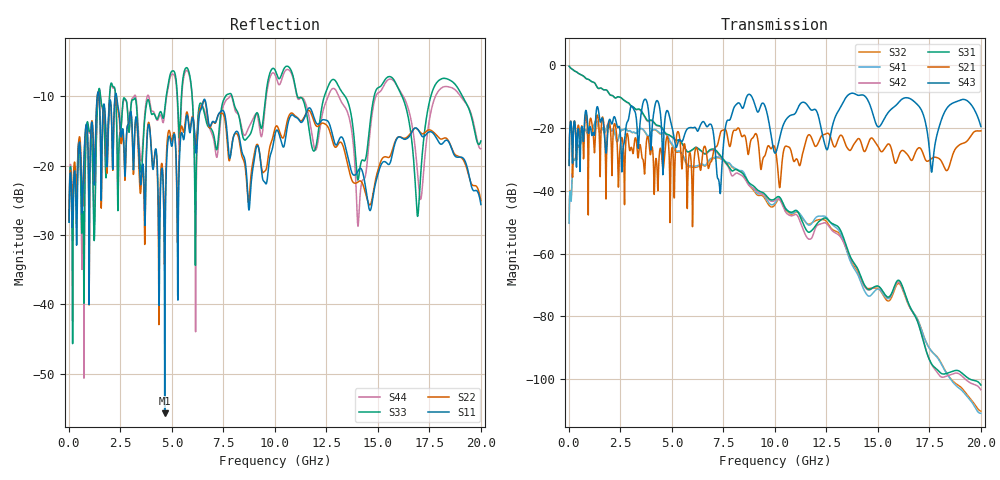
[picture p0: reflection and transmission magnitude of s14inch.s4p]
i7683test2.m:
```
%% test amiinit_1207a using i7683 AMI model

bit_rate = 8e9;         %bits-per-second
bit_time = 1/bit_rate;   % second
samples_per_bit = 32;  
sampling_rate = bit_rate * samples_per_bit; 
sample_step = bit_time / samples_per_bit;
seqlength = 200000;   % length of random sequence bits


%% setup IBIS AMI model path and filename
modelpath = 'C:\Users\younger\Documents\MATLAB\_develop\_chasim\Qlogic_Cetus_wrk';

tx_amifilename = 'g28_10g_tx.ami';
rx_amifilename = 'g28_10g_rx.ami';
tx_dllfilename = 'G28_10G_Tx.dll';
rx_dllfilename = 'G28_10G_Rx.dll';
tx_amifile = fullfile(modelpath, tx_amifilename);
rx_amifile = fullfile(modelpath, rx_amifilename);
tx_dllfile = fullfile(modelpath, tx_dllfilename);
rx_dllfile = fullfile(modelpath, rx_dllfilename);

addpath(modelpath)

%% get channel impulse response 
addpath('C:\Users\younger\Documents\MATLAB\_develop\_chasim\impulse_response_oct2012');
addpath('C:\Users\younger\Documents\MATLAB\_develop\_chasim\SYZ_conversions');
s4ppath = 'C:\Users\younger\Documents\MATLAB\_develop\_chasim\Qlogic_Cetus_wrk';
s4pname = 's14inch.s4p';
s4pfile = fullfile(s4ppath, s4pname);
s4pstruct = tsnpimporti(s4pfile);
s4pstruct0 = snpinsertdc(s4pstruct);

flist = s4pstruct0.freqlist;
nfp = length(flist);
s12 = reshape( s4pstruct0.data(1,2,:), nfp, 1) ;

fstep = 10e6;

[tlist, impresi, tstep, tspan, err, errmsg] = spimpres(flist, s12);

tinterp = 0:sample_step:5000*sample_step;
[channel_impres, e2, em2] = wavesample(tlist, impresi, tinterp);
plot(tinterp, channel_impres,'--rs', tlist, impresi,'-.bo');
title('Impulse Response');
xlabel('Time');
ylabel('Impulse');
legend('Resampled');
grid on;


pausehere = 1;

%% IBIS AMI_Init
[ impresotx, amiparotx, mhtx, initmsgtx, errtx, errmsgtx ] = amiinit_1207a(tx_amifile, tx_dllfile, channel_impres, sample_step, bit_time);

plot(tinterp, channel_impres,'--rs', tinterp, impresotx','-.bo');
title('Impulse Response');
xlabel('Time');
ylabel('Impulse');
legend('Whatever');
grid on;


[ impresorx, amiparorx, mhrx, initmsgrx, errrx, errmsgrx ] = amiinit_1207a(rx_amifile, rx_dllfile, impresotx, sample_step, bit_time);

plot(tinterp, channel_impres,'--rs', tinterp, impresotx','-.bo', tinterp, (impresorx - 0.05)',':md');
title('Impulse Response');
xlabel('Time');
ylabel('Impulse');
%legend('Modified');
grid on;

%% IBIS AMI_GetWave, Tx
seqi = prbs1(seqlength);
[wavei,sample_step_txgw, tlistt, etxgw,emtxgw] = bnrzmod(seqi, bit_rate, samples_per_bit);
wave_time = tlistt; 

clk_count = seqlength + 2;
clki = rand(1, clk_count) * seqlength * bit_time;


[ waveo, clko, amiparo, amimemhdl, err, errmsg ] = amigetwave_1208a(tx_dllfile, mhtx, wavei, clki);

plot(wave_time, wavei,'--rs', wave_time, waveo,'-.bo');
title('Impulse Response');
xlabel('Time');
ylabel('Impulse');
%legend('Whatever');
grid on;

%% convolution with channel impulse response

wave_rxin = conv(waveo, impresorx');
wave_time_rxin = ( 0: (length(wave_rxin)-1) ) * sample_step_txgw;
plot(wave_time, wavei,'--ms', wave_time, waveo,'--rd', wave_time_rxin, wave_rxin*0.1,'-.bo');
title('Impulse Response');
xlabel('Time');
ylabel('Impulse');
%legend('Whatever');
grid on;

%% IBIS AMI_GetWave, Rx
seqlength_rxin = length(wave_rxin) / samples_per_bit ;
clk_count = int64(seqlength_rxin + 10);
clki = rand(1, clk_count) * seqlength_rxin * bit_time;

[ wave_rxo, clk_rxo, amipar_rxo, amimemhdl_rxo, errrxo, errmsgrxo ] = amigetwave_1208a(rx_dllfile, mhrx, wave_rxin*0.1, clki);
%plot(wave_time, wavei,'--ms', wave_time, waveo,'--rd', wave_time_rxin, wave_rxin,'-.bo');
%plot( wave_time, waveo,'--rd', wave_time_rxin, wave_rxin,'-.bo', wave_time_rxin, wave_rxo,'-.ms');
% % plot(  wave_time_rxin, wave_rxin*0.1,'-.bo', wave_time_rxin, wave_rxo,'-.ms');
% % title('Impulse Response');
% % xlabel('Time');
% % ylabel('Impulse');
% % legend('Whatever');
% % grid on;

clf;
wave_time_rxin_12 = wave_time_rxin(2000:(2000+samples_per_bit*100));
wave_rxin_12      = wave_rxin(2000:(2000+samples_per_bit*100));
wave_rxo_12       = wave_rxo(2000:(2000+samples_per_bit*100));
plot(  wave_time_rxin_12, wave_rxin_12*0.1,'-.bo', wave_time_rxin_12, wave_rxo_12,'-.ms');
title('Impulse Response');
xlabel('Time');
ylabel('Impulse');
%legend('Whatever');
grid on;

h = eyediagram(wave_rxo(2000:(2000+samples_per_bit*100)), 2*samples_per_bit);

pausehere=1;
```
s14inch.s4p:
! Created Wed Feb 25 18:01:53 2015
# hz S ma R 50
! 4 Port Network Data from SP1.SP block
! freq  magS11  angS11  magS12  angS12  magS13  angS13  magS14  angS14
!  magS21  angS21  magS22  angS22  magS23  angS23  magS24  angS24
!  magS31  angS31  magS32  angS32  magS33  angS33  magS34  angS34
!  magS41  angS41  magS42  angS42  magS43  angS43  magS44  angS44
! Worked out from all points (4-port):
!   2000 points, 10 MHz to 20 GHz, reference 50 ohm
!   strongest paths, dB at 10 MHz, 5.01 GHz, 10.01 GHz, 15.01 GHz, 20 GHz:
!     S43: -32.0, -19.9, -28.1, -19.7, -19.6
!     S21: -31.9, -26.2, -26.6, -26.0, -21.0
!     S31: -0.4, -22.9, -42.6, -70.4, -101.8
!     S42: -0.4, -22.9, -43.1, -70.5, -103.4
!     S41: -50.4, -25.1, -43.8, -71.3, -110.8
!     S32: -50.3, -25.5, -44.4, -71.2, -110.2
!   lowest |S11| = -55.7 dB at 4.65 GHz (marker M1), VSWR 1.00, Z = 49.9 + j0.082 ohm
!   |S11| at or under -10 dB: start of sweep to 1.376 GHz; 1.463 GHz to 2.24 GHz (776.5 MHz wide, 41.9 % of centre); 2.316 GHz to end of sweep
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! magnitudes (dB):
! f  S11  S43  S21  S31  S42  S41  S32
! 10 MHz  -28.1  -32.0  -31.9  -0.4  -0.4  -50.4  -50.3
! 4.65 GHz  -55.7  -18.0  -28.5  -21.5  -21.6  -21.4  -21.5
! 20 GHz  -25.6  -19.6  -21.0  -101.8  -103.4  -110.8  -110.2
